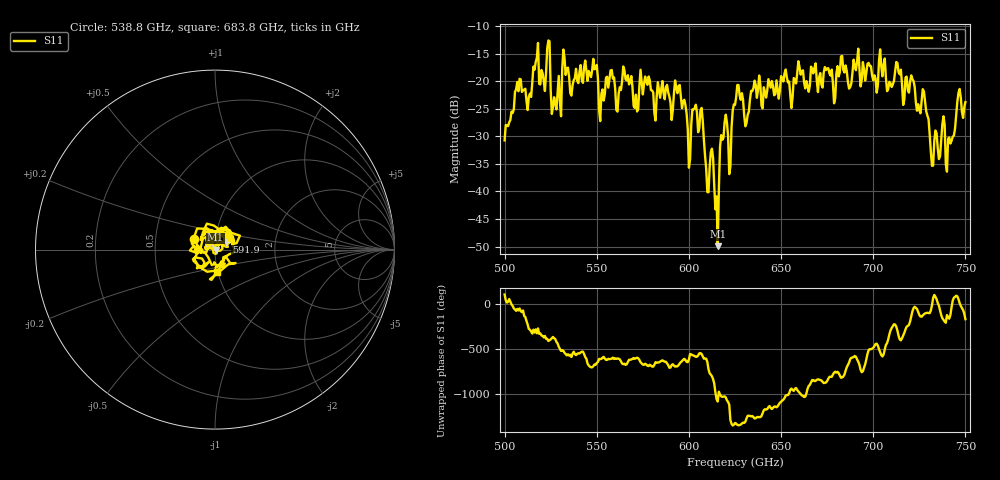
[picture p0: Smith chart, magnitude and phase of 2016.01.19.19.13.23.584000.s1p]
!Created with skrf (http://scikit-rf.org).
# GHz S RI R 50.0
!freq ReS11 ImS11
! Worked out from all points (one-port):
!   401 points, 500 GHz to 750 GHz, reference 50 ohm
!   lowest |S11| = -49.9 dB at 615.6 GHz (marker M1), VSWR 1.01, Z = 50.3 - j0.0262 ohm
!   |S11| at or under -10 dB: start of sweep to end of sweep
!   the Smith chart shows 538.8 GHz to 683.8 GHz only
!   S11 on the Smith chart (normalised r, x): 538.8 GHz: 0.79, +0.09; 591.9 GHz: 1.13, +0.10; 683.8 GHz: 0.99, -0.25
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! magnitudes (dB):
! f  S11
! 500 GHz  -30.7
! 507.5 GHz  -21.8
! 513.1 GHz  -22.9
! 516.9 GHz  -16.6
! 523.8 GHz  -12.6
! 526.9 GHz  -22.9
! 531.2 GHz  -17.9
! 538.8 GHz  -17.8
! 562.5 GHz  -21.1
! 591.9 GHz  -22.3
! 593.8 GHz  -22.2
! 600 GHz  -35.7
! 603.1 GHz  -24.9
! 606.9 GHz  -24.8
! 610 GHz  -40.1
! 612.5 GHz  -32.2
! 615.6 GHz  -49.9
! 618.1 GHz  -30.6
! 622.5 GHz  -35.4
! 625 GHz  -24.3
! 656.2 GHz  -22.9
! 683.8 GHz  -17.9
! 687.5 GHz  -21.1
! 690.6 GHz  -18.0
! 718.8 GHz  -21.6
! 728.1 GHz  -23.7
! 731.9 GHz  -35.4
! 750 GHz  -23.8
